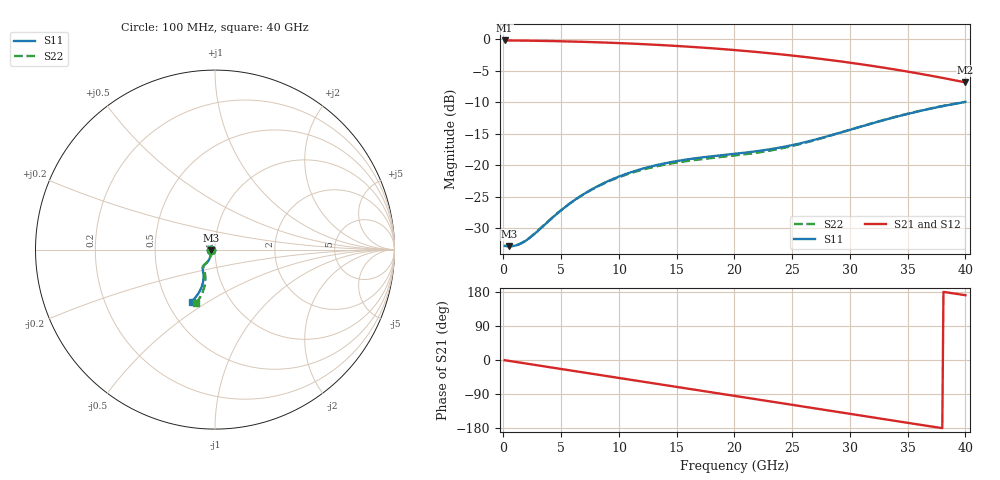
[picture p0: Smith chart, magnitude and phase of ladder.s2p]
! D_s8_stitch_0p5: via ladder as kisi uses it (kisi_si::via_pbm, graded grid, junction model), ports at the via
# Hz S RI R 50
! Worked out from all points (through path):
!   400 points, 100 MHz to 40 GHz, reference 50 ohm
!   highest |S21| = -0.20 dB at 100 MHz (marker M1); lowest = -6.9 dB at 40 GHz (marker M2)
!   group delay of S21, straight-line fit = 13.2 ps
!   lowest |S11| = -32.8 dB at 500 MHz (marker M3), VSWR 1.05, Z = 47.8 - j0.268 ohm
!   |S11| at or under -10 dB: start of sweep to 39.88 GHz
!   |S22| runs from -32.8 to -9.9 dB; largest |S21 - S12| = 0
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1e8  -0.023 -0.000505  0.9769 -0.00829  0.9769 -0.00829  -0.023 -0.000511
5e8  -0.0227 -0.00281  0.9757 -0.0412  0.9757 -0.0412  -0.0227 -0.00283
1.2e9  -0.0221 -0.00739  0.9704 -0.098  0.9704 -0.098  -0.0222 -0.00745
2e9  -0.0218 -0.0131  0.9599 -0.1618  0.9599 -0.1618  -0.0219 -0.0132
4.3e9  -0.0235 -0.0309  0.905 -0.3369  0.905 -0.3369  -0.0238 -0.0309
6.8e9  -0.0298 -0.0497  0.807 -0.5074  0.807 -0.5074  -0.0303 -0.0493
8.4e9  -0.0358 -0.0603  0.726 -0.6021  0.726 -0.6021  -0.0362 -0.0595
1.02e10  -0.0435 -0.0704  0.6206 -0.6924  0.6206 -0.6924  -0.0436 -0.0691
1.18e10  -0.0505 -0.0776  0.5169 -0.7565  0.5169 -0.7565  -0.0501 -0.076
1.34e10  -0.057 -0.0834  0.4063 -0.8041  0.4063 -0.8041  -0.056 -0.0814
1.5e10  -0.0626 -0.088  0.2915 -0.8344  0.2915 -0.8344  -0.0606 -0.0859
1.67e10  -0.0669 -0.0923  0.1681 -0.8475  0.1681 -0.8475  -0.0638 -0.0902
1.84e10  -0.0693 -0.0966  0.0464 -0.841  0.0464 -0.841  -0.0651 -0.0949
2.01e10  -0.0698 -0.1019  -0.0702 -0.8157  -0.0702 -0.8157  -0.0644 -0.1008
2.32e10  -0.0672 -0.1166  -0.2599 -0.7265  -0.2599 -0.7265  -0.0599 -0.117
2.67e10  -0.0637 -0.1438  -0.4227 -0.5732  -0.4227 -0.5732  -0.0543 -0.1461
2.84e10  -0.064 -0.1611  -0.4778 -0.4857  -0.4778 -0.4857  -0.0535 -0.1643
3e10  -0.0663 -0.1792  -0.5143 -0.3995  -0.5143 -0.3995  -0.0547 -0.1832
3.17e10  -0.0716 -0.1996  -0.5369 -0.3069  -0.5369 -0.3069  -0.0585 -0.2044
3.34e10  -0.0797 -0.2203  -0.5436 -0.2163  -0.5436 -0.2163  -0.0649 -0.226
3.65e10  -0.1009 -0.256  -0.5193 -0.065  -0.5193 -0.065  -0.0822 -0.2636
4e10  -0.1305 -0.2896  -0.4486 0.0713  -0.4486 0.0713  -0.1064 -0.3003
